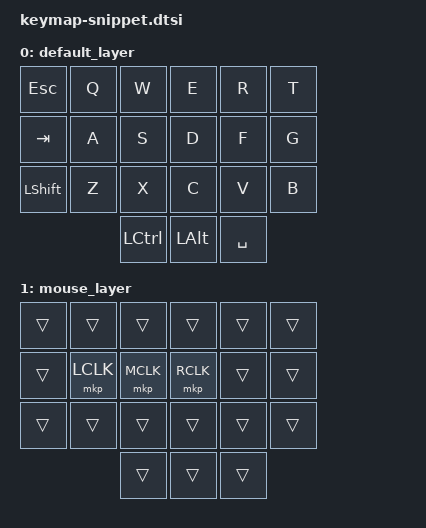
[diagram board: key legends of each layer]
/*
 * ZMK キーマップ・スニペット
 * レイヤー定義と behavior の標準構成
 */

#include <behaviors.dtsi>
#include <dt-bindings/zmk/keys.h>
#include <dt-bindings/zmk/bt.h>
#include <dt-bindings/zmk/mouse.h>

/ {
    behaviors {
        /* ホールドでレイヤー、タップでキー入力の例 */
        lt_hp: layer_tap_home_row {
            compatible = "zmk,behavior-hold-tap";
            label = "LAYER_TAP_HOME_ROW";
            #binding-cells = <2>;
            tapping-term-ms = <200>;
            quick-tap-ms = <125>;
            flavor = "tap-preferred";
            bindings = <&mo>, <&kp>;
        };
    };

    keymap {
        compatible = "zmk,keymap";

        default_layer {
            bindings = <
                &kp ESC   &kp Q     &kp W     &kp E     &kp R     &kp T
                &kp TAB   &kp A     &kp S     &kp D     &kp F     &kp G
                &kp LSHIFT &kp Z     &kp X     &kp C     &kp V     &kp B
                                    &kp LCTRL &kp LALT  &kp SPACE
            >;
        };

        /* マウス操作用レイヤーの例 */
        mouse_layer {
            bindings = <
                &trans    &trans    &trans    &trans    &trans    &trans
                &trans    &mkp LCLK &mkp MCLK &mkp RCLK &trans    &trans
                &trans    &trans    &trans    &trans    &trans    &trans
                                    &trans    &trans    &trans
            >;
        };
    };
};
